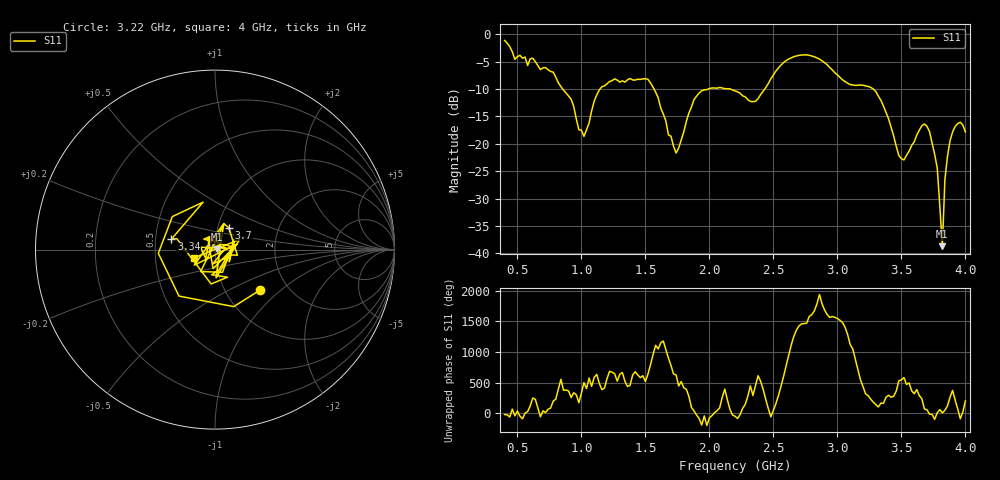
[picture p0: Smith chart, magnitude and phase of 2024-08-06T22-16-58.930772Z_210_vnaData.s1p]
!Created with skrf (http://scikit-rf.org).
# Hz S RI R 50.0
!freq ReS11 ImS11
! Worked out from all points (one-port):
!   181 points, 400 MHz to 4 GHz, reference 50 ohm
!   lowest |S11| = -38.7 dB at 3.82 GHz (marker M1), VSWR 1.02, Z = 51.2 + j0.16 ohm
!   |S11| at or under -10 dB: 854.1 MHz to 1.145 GHz (291 MHz wide, 29.1 % of centre); 1.567 GHz to 1.99 GHz (422.8 MHz wide, 23.8 % of centre); 3.28 GHz to end of sweep (the widest 3 of 4)
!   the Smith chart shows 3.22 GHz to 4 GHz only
!   S11 on the Smith chart (normalised r, x): 3.22 GHz: 1.46, -0.74; 3.34 GHz: 0.61, +0.08; 3.7 GHz: 1.13, +0.28; 4 GHz: 0.78, -0.07
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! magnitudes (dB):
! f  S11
! 400 MHz  -1.1
! 480 MHz  -4.6
! 620 MHz  -4.4
! 860 MHz  -10.2
! 1.02 GHz  -18.6
! 1.14 GHz  -10.1
! 1.3 GHz  -8.7
! 1.52 GHz  -8.2
! 1.6 GHz  -11.6
! 1.74 GHz  -21.7
! 1.76 GHz  -20.8
! 1.92 GHz  -10.7
! 2.2 GHz  -10.3
! 2.36 GHz  -12.2
! 2.66 GHz  -4.1
! 2.86 GHz  -4.5
! 3.1 GHz  -9.2
! 3.22 GHz  -9.4
! 3.34 GHz  -12.1
! 3.48 GHz  -22.1
! 3.56 GHz  -21.4
! 3.7 GHz  -16.8
! 3.78 GHz  -24.4
! 3.82 GHz  -38.7
! 3.84 GHz  -26.5
! 3.88 GHz  -19.4
! 3.94 GHz  -16.3
! 4 GHz  -17.8
